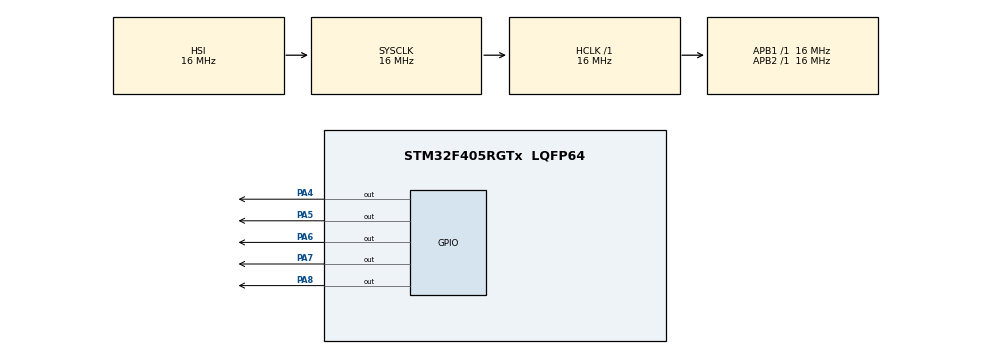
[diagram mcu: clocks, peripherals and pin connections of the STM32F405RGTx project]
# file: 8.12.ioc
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Mcu.Family=STM32F4
Mcu.Name=STM32F405RGTx
Mcu.Package=LQFP64
NVIC.PriorityGroup=NVIC_PRIORITYGROUP_4
NVIC.TIM8_UP_TIM13_IRQn=true\:15\:0\:false\:false\:true\:false\:true\:true
NVIC.TimeBase=TIM8_UP_TIM13_IRQn
NVIC.TimeBaseIP=TIM8
PA13.Mode=Serial_Wire
PA13.Signal=SYS_JTMS-SWDIO
PA14.Mode=Serial_Wire
PA14.Signal=SYS_JTCK-SWCLK
PA4.Signal=GPIO_Output
PA5.Signal=GPIO_Output
PA6.Signal=GPIO_Output
PA7.Signal=GPIO_Output
PA8.Signal=GPIO_Output
PH0-OSC_IN.Mode=HSE-External-Oscillator
PH0-OSC_IN.Signal=RCC_OSC_IN
PH1-OSC_OUT.Mode=HSE-External-Oscillator
PH1-OSC_OUT.Signal=RCC_OSC_OUT
ProjectManager.HeapSize=0x200
ProjectManager.StackSize=0x400
ProjectManager.TargetToolchain=MDK-ARM V5
RCC.48MHZClocksFreq_Value=75000000
RCC.AHBFreq_Value=16000000
RCC.APB1Freq_Value=16000000
RCC.APB2Freq_Value=16000000
RCC.CortexFreq_Value=16000000
RCC.HSE_VALUE=25000000
RCC.HSI_VALUE=16000000
RCC.LSE_VALUE=32768
RCC.PLLSourceVirtual=RCC_PLLSOURCE_HSE
RCC.SYSCLKFreq_VALUE=16000000
RCC.VCOOutputFreq_Value=300000000
VP_SYS_VS_tim8.Mode=TIM8
board=custom

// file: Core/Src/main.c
/* USER CODE BEGIN Header */
/**
 ******************************************************************************
 * @file           : main.c
 * @brief          : Main program body
 ******************************************************************************
 * @attention
 *
 * Copyright (c) 2025 STMicroelectronics.
 * All rights reserved.
 *
 * This software is licensed under terms that can be found in the LICENSE file
 * in the root directory of this software component.
 * If no LICENSE file comes with this software, it is provided AS-IS.
 *
 ******************************************************************************
 */
/* USER CODE END Header */
#include "main.h"
#include <stdio.h>
#include "EventRecorder.h"

void SystemClock_Config(void);
static void MX_GPIO_Init(void);

/* USER CODE BEGIN 0 */
int i = 0;
void buzz()
{
  HAL_Delay(200);
  HAL_GPIO_TogglePin(GPIOA, GPIO_PIN_8);
  HAL_Delay(200);
  HAL_GPIO_TogglePin(GPIOA, GPIO_PIN_8);
}
/* USER CODE END 0 */

int main(void)
{

  /* USER CODE BEGIN 1 */
  EventRecorderInitialize(EventRecordAll, 1U);
  EventRecorderStart();
  /* USER CODE END 1 */

  /* MCU Configuration--------------------------------------------------------*/

  /* Reset of all peripherals, Initializes the Flash interface and the Systick. */
  HAL_Init();

  /* Configure the system clock */
  SystemClock_Config();

  /* Initialize all configured peripherals */
  MX_GPIO_Init();

  /* Infinite loop */
  while (1)
  {

    /* USER CODE BEGIN 3 */
    if (i)
    {
      EventStartA(0);
      uint16_t GPIO_PIN = GPIO_PIN_4;
      for (; i > 0; i--)
      {

        HAL_GPIO_TogglePin(GPIOA, GPIO_PIN);
        HAL_Delay(500);
        HAL_GPIO_TogglePin(GPIOA, GPIO_PIN);
        HAL_Delay(500);
        GPIO_PIN <<= 1;
        buzz();
      }
      printf("buzzer's mission complete\n");
      EventStopA(0);
    }
    else
    {
      EventStartA(0);
      for (int j = 4; j > 0; j--)
      {
        uint16_t GPIO_PIN = GPIO_PIN_4;
        HAL_GPIO_TogglePin(GPIOA, GPIO_PIN);
        HAL_Delay(500);
        HAL_GPIO_TogglePin(GPIOA, GPIO_PIN);
        HAL_Delay(500);
        GPIO_PIN <<= 1;
        EventStopA(0);
      }
    }
    /* USER CODE END 3 */
  }
}

void SystemClock_Config(void)
{
  RCC_OscInitTypeDef RCC_OscInitStruct = {0};
  RCC_ClkInitTypeDef RCC_ClkInitStruct = {0};

  /** Configure the main internal regulator output voltage
   */
  __HAL_RCC_PWR_CLK_ENABLE();
  __HAL_PWR_VOLTAGESCALING_CONFIG(PWR_REGULATOR_VOLTAGE_SCALE1);

  /** Initializes the RCC Oscillators according to the specified parameters
   * in the RCC_OscInitTypeDef structure.
   */
  RCC_OscInitStruct.OscillatorType = RCC_OSCILLATORTYPE_HSI;
  RCC_OscInitStruct.HSIState = RCC_HSI_ON;
  RCC_OscInitStruct.HSICalibrationValue = RCC_HSICALIBRATION_DEFAULT;
  RCC_OscInitStruct.PLL.PLLState = RCC_PLL_NONE;
  if (HAL_RCC_OscConfig(&RCC_OscInitStruct) != HAL_OK)
  {
    Error_Handler();
  }

  /** Initializes the CPU, AHB and APB buses clocks
   */
  RCC_ClkInitStruct.ClockType = RCC_CLOCKTYPE_HCLK | RCC_CLOCKTYPE_SYSCLK | RCC_CLOCKTYPE_PCLK1 | RCC_CLOCKTYPE_PCLK2;
  RCC_ClkInitStruct.SYSCLKSource = RCC_SYSCLKSOURCE_HSI;
  RCC_ClkInitStruct.AHBCLKDivider = RCC_SYSCLK_DIV1;
  RCC_ClkInitStruct.APB1CLKDivider = RCC_HCLK_DIV1;
  RCC_ClkInitStruct.APB2CLKDivider = RCC_HCLK_DIV1;

  if (HAL_RCC_ClockConfig(&RCC_ClkInitStruct, FLASH_LATENCY_0) != HAL_OK)
  {
    Error_Handler();
  }
}

static void MX_GPIO_Init(void)
{
  GPIO_InitTypeDef GPIO_InitStruct = {0};

  /* GPIO Ports Clock Enable */
  __HAL_RCC_GPIOH_CLK_ENABLE();
  __HAL_RCC_GPIOA_CLK_ENABLE();

  /*Configure GPIO pin Output Level */
  HAL_GPIO_WritePin(GPIOA, GPIO_PIN_4 | GPIO_PIN_5 | GPIO_PIN_6 | GPIO_PIN_7 | GPIO_PIN_8, GPIO_PIN_RESET);

  /*Configure GPIO pins : PA4 PA5 PA6 PA7
                           PA8 */
  GPIO_InitStruct.Pin = GPIO_PIN_4 | GPIO_PIN_5 | GPIO_PIN_6 | GPIO_PIN_7 | GPIO_PIN_8;
  GPIO_InitStruct.Mode = GPIO_MODE_OUTPUT_PP;
  GPIO_InitStruct.Pull = GPIO_NOPULL;
  GPIO_InitStruct.Speed = GPIO_SPEED_FREQ_LOW;
  HAL_GPIO_Init(GPIOA, &GPIO_InitStruct);

}

void HAL_TIM_PeriodElapsedCallback(TIM_HandleTypeDef *htim)
{
  if (htim->Instance == TIM8)
  {
    HAL_IncTick();
  }
}

void Error_Handler(void)
{
  __disable_irq();
  while (1)
  {
  }
}
